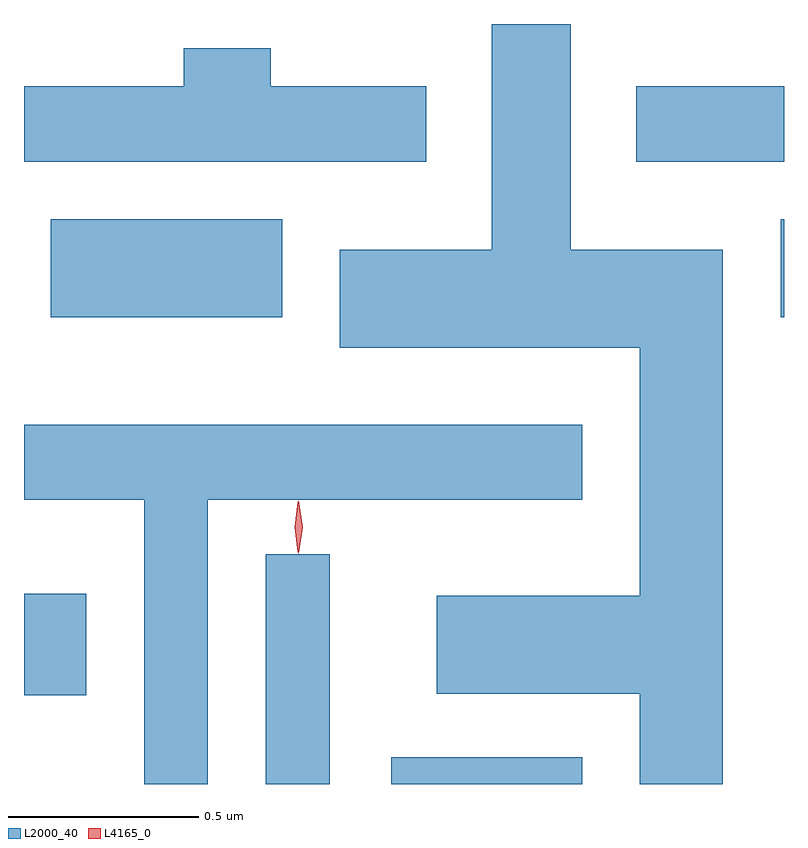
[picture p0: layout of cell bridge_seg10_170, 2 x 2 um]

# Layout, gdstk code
import gdstk
lib = gdstk.Library(unit=1e-6, precision=1e-09)
def R(c, l, rs):  # rectangles x0, y0, x1, y1
    for r in rs: c.add(gdstk.rectangle(r[:2], r[2:], *l))
def P(c, l, *ps):  # polygons
    for p in ps: c.add(gdstk.Polygon(p, *l))
L2000_40 = (2000, 40)
L4165_0 = (4165, 0)

bridge_seg10_170 = lib.new_cell('bridge_seg10_170')
R(bridge_seg10_170, L2000_40, [(1650.201,2141.568,1650.369,2142.173), (1650.531,2141.568,1651.034,2141.639), (1649.565,2141.801,1649.729,2142.069), (1649.636,2142.796,1650.244,2143.054), (1651.556,2142.796,1651.565,2143.054), (1651.176,2143.206,1651.565,2143.404)])
P(bridge_seg10_170, L2000_40, [(1651.404,2142.974),(1651.004,2142.974),(1651.004,2143.568),(1650.796,2143.568),(1650.796,2142.974),(1650.396,2142.974),(1650.396,2142.716),(1651.186,2142.716),(1651.186,2142.064),(1650.651,2142.064),(1650.651,2141.806),(1651.186,2141.806),(1651.186,2141.568),(1651.404,2141.568)],
  [(1650.624,2143.404),(1650.214,2143.404),(1650.214,2143.504),(1649.986,2143.504),(1649.986,2143.404),(1649.565,2143.404),(1649.565,2143.206),(1650.624,2143.206)],
  [(1650.049,2142.316),(1651.034,2142.316),(1651.034,2142.514),(1649.565,2142.514),(1649.565,2142.316),(1649.881,2142.316),(1649.881,2141.568),(1650.049,2141.568)])
P(bridge_seg10_170, L4165_0, [(1650.286,2142.178),(1650.277,2142.244),(1650.286,2142.311),(1650.287,2142.311),(1650.287,2142.311),(1650.297,2142.244),(1650.287,2142.178),(1650.287,2142.178)],
  [(1650.288,2142.174),(1650.288,2142.175),(1650.278,2142.244),(1650.288,2142.313),(1650.288,2142.314),(1650.288,2142.313),(1650.298,2142.244),(1650.288,2142.175)])

lib.write_gds('bridge_seg10_170.gds')
